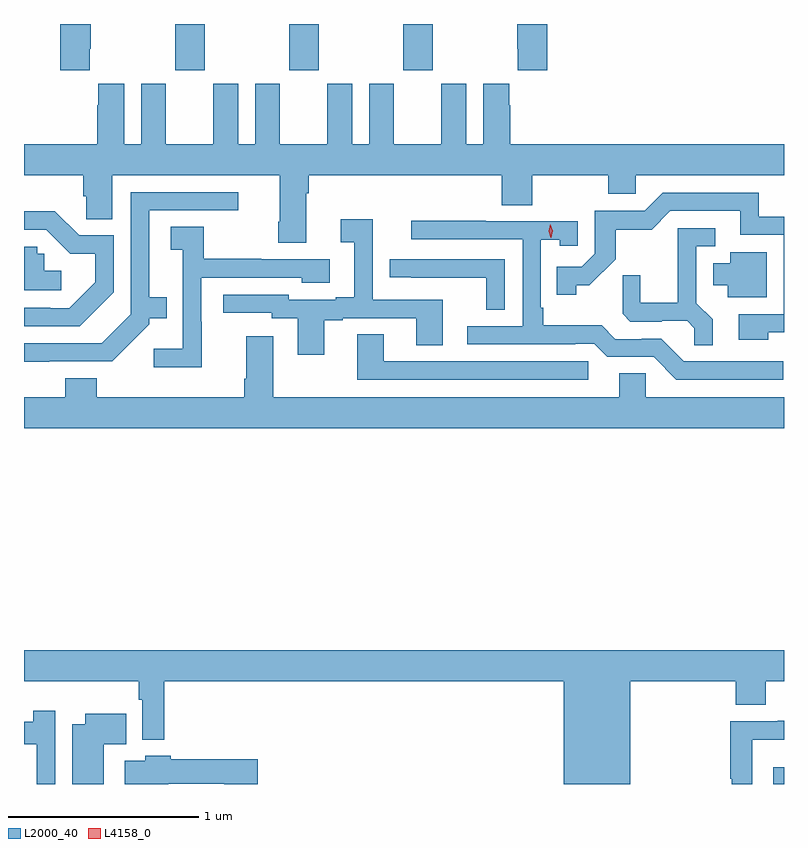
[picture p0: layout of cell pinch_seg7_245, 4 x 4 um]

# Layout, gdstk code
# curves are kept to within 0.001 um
import gdstk
lib = gdstk.Library(unit=1e-6, precision=1e-09)
def R(c, l, rs):  # rectangles x0, y0, x1, y1
    for r in rs: c.add(gdstk.rectangle(r[:2], r[2:], *l))
def A(c, l, x, y, w, h, nx, ny, dx, dy):  # array of equal rectangles
    R(c, l, [(x+i*dx, y+j*dy, x+i*dx+w, y+j*dy+h) for i in range(nx) for j in range(ny)])
def P(c, l, *ps):  # polygons
    for p in ps: c.add(gdstk.Polygon(p, *l))
L2000_40 = (2000, 40)
L4158_0 = (4158, 0)

pinch_seg7_245 = lib.new_cell('pinch_seg7_245')
A(pinch_seg7_245, L2000_40, 790.675, 1025.145, 0.155, 0.243, 3, 1, 0.6, 0)
R(pinch_seg7_245, L2000_40, [(793.823,1021.388,793.88,1021.477)])
P(pinch_seg7_245, L2000_40, [(790.225,1025.257),(790.23,1025.257),(790.23,1025.388),(790.07,1025.388),(790.07,1025.145),(790.225,1025.145)],
  [(792.635,1025.388),(792.475,1025.388),(792.475,1025.257),(792.479,1025.257),(792.479,1025.145),(792.635,1025.145)],
  [(791.225,1024.348),(791.218,1024.348),(791.218,1024.236),(791.365,1024.236),(791.365,1024.496),(791.378,1024.496),(791.378,1024.592),(792.395,1024.592),(792.395,1024.435),(792.555,1024.435),(792.555,1024.592),(792.955,1024.592),(792.955,1024.494),(793.101,1024.494),(793.101,1024.592),(793.88,1024.592),(793.88,1024.756),(792.44,1024.756),(792.44,1024.961),(792.433,1024.961),(792.433,1025.074),(792.296,1025.074),(792.296,1024.756),(792.208,1024.756),(792.208,1025.074),(792.077,1025.074),(792.077,1024.756),(791.827,1024.756),(791.827,1025.074),(791.696,1025.074),(791.696,1024.756),(791.608,1024.756),(791.608,1025.074),(791.477,1025.074),(791.477,1024.756),(791.227,1024.756),(791.227,1025.074),(791.096,1025.074),(791.096,1024.756),(791.008,1024.756),(791.008,1025.074),(790.877,1025.074),(790.877,1024.756),(790.627,1024.756),(790.627,1025.074),(790.496,1025.074),(790.496,1024.756),(790.408,1024.756),(790.408,1025.074),(790.271,1025.074),(790.271,1024.961),(790.265,1024.961),(790.265,1024.756),(789.88,1024.756),(789.88,1024.592),(790.193,1024.592),(790.193,1024.482),(790.207,1024.482),(790.207,1024.36),(790.345,1024.36),(790.345,1024.592),(791.225,1024.592)],
  [(790.013,1023.612),(790.344,1023.612),(790.539,1023.807),(790.539,1023.839),(790.631,1023.839),(790.631,1023.949),(790.54,1023.949),(790.54,1024.407),(791.008,1024.407),(791.008,1024.503),(790.443,1024.503),(790.443,1023.861),(790.29,1023.708),(789.88,1023.708),(789.88,1023.611)],
  [(793.797,1023.765),(793.88,1023.765),(793.88,1024.374),(793.748,1024.374),(793.748,1024.5),(793.242,1024.5),(793.146,1024.404),(792.885,1024.404),(792.885,1024.179),(792.816,1024.11),(792.685,1024.11),(792.685,1023.963),(792.786,1023.963),(792.786,1024.013),(792.856,1024.013),(792.994,1024.15),(792.994,1024.305),(793.183,1024.305),(793.281,1024.404),(793.649,1024.404),(793.649,1024.278),(793.878,1024.278),(793.878,1023.861),(793.641,1023.861),(793.641,1023.725),(793.797,1023.725)],
  [(790.353,1023.977),(790.353,1024.275),(790.17,1024.275),(790.042,1024.403),(789.88,1024.403),(789.88,1024.305),(789.996,1024.305),(790.123,1024.178),(790.256,1024.178),(790.256,1024.028),(790.119,1023.891),(790.019,1023.891),(790.019,1023.894),(789.88,1023.894),(789.88,1023.798),(790.174,1023.798)],
  [(791.461,1023.828),(791.557,1023.828),(791.557,1023.84),(791.945,1023.84),(791.945,1023.697),(792.085,1023.697),(792.085,1023.936),(791.715,1023.936),(791.715,1024.36),(791.547,1024.36),(791.547,1024.24),(791.618,1024.24),(791.618,1023.949),(791.522,1023.949),(791.522,1023.936),(791.274,1023.936),(791.274,1023.963),(790.929,1023.963),(790.929,1023.867),(791.184,1023.867),(791.184,1023.84),(791.321,1023.84),(791.321,1023.648),(791.461,1023.648)],
  [(793.876,1023.612),(793.353,1023.612),(793.233,1023.732),(793.132,1023.732),(793.132,1023.729),(792.993,1023.729),(792.92,1023.802),(792.613,1023.802),(792.613,1023.895),(792.6,1023.895),(792.6,1024.253),(792.699,1024.253),(792.699,1024.221),(792.795,1024.221),(792.795,1024.35),(792.311,1024.35),(792.311,1024.353),(791.919,1024.353),(791.919,1024.254),(792.504,1024.254),(792.504,1023.798),(792.213,1023.798),(792.213,1023.702),(792.782,1023.702),(792.782,1023.705),(792.882,1023.705),(792.951,1023.636),(793.194,1023.636),(793.314,1023.516),(793.876,1023.516)],
  [(790.815,1023.821),(790.812,1023.821),(790.812,1024.053),(791.343,1024.053),(791.343,1024.025),(791.488,1024.025),(791.488,1024.149),(791.129,1024.149),(791.129,1024.152),(790.825,1024.152),(790.825,1024.322),(790.653,1024.322),(790.653,1024.201),(790.716,1024.201),(790.716,1023.679),(790.563,1023.679),(790.563,1023.581),(790.815,1023.581)],
  [(793.505,1023.833),(793.419,1023.919),(793.419,1024.218),(793.519,1024.218),(793.519,1024.314),(793.322,1024.314),(793.322,1023.922),(793.124,1023.922),(793.124,1024.065),(793.03,1024.065),(793.03,1023.863),(793.071,1023.822),(793.236,1023.822),(793.236,1023.825),(793.37,1023.825),(793.407,1023.788),(793.407,1023.697),(793.505,1023.697)],
  [(790.075,1024.09),(789.987,1024.09),(789.987,1024.179),(789.951,1024.179),(789.951,1024.215),(789.88,1024.215),(789.88,1023.987),(790.075,1023.987)],
  [(793.789,1024.186),(793.598,1024.186),(793.598,1024.129),(793.508,1024.129),(793.508,1024.013),(793.583,1024.013),(793.583,1023.95),(793.789,1023.95)],
  [(792.411,1024.149),(791.805,1024.149),(791.805,1024.054),(791.917,1024.054),(791.917,1024.053),(792.313,1024.053),(792.313,1023.883),(792.411,1023.883)],
  [(792.85,1023.612),(791.773,1023.612),(791.773,1023.755),(791.633,1023.755),(791.633,1023.516),(792.85,1023.516)],
  [(793.88,1023.424),(793.152,1023.424),(793.152,1023.551),(793.013,1023.551),(793.013,1023.424),(791.191,1023.424),(791.191,1023.745),(791.051,1023.745),(791.051,1023.52),(791.039,1023.52),(791.039,1023.424),(790.262,1023.424),(790.262,1023.523),(790.097,1023.523),(790.097,1023.424),(789.88,1023.424),(789.88,1023.26),(793.88,1023.26)],
  [(793.072,1021.928),(793.625,1021.928),(793.625,1021.804),(793.785,1021.804),(793.785,1021.928),(793.88,1021.928),(793.88,1022.092),(789.88,1022.092),(789.88,1021.928),(790.483,1021.928),(790.483,1021.832),(790.503,1021.832),(790.503,1021.622),(790.619,1021.622),(790.619,1021.928),(792.722,1021.928),(792.722,1021.388),(793.072,1021.388)],
  [(790.044,1021.774),(789.928,1021.774),(789.928,1021.715),(789.88,1021.715),(789.88,1021.597),(789.947,1021.597),(789.947,1021.388),(790.044,1021.388)],
  [(790.3,1021.598),(790.418,1021.598),(790.418,1021.759),(790.202,1021.759),(790.202,1021.702),(790.133,1021.702),(790.133,1021.388),(790.3,1021.388)],
  [(793.713,1021.622),(793.88,1021.622),(793.88,1021.721),(793.847,1021.721),(793.847,1021.719),(793.597,1021.719),(793.597,1021.416),(793.605,1021.416),(793.605,1021.388),(793.713,1021.388)],
  [(790.639,1021.39),(790.933,1021.39),(790.933,1021.388),(791.111,1021.388),(791.111,1021.519),(790.652,1021.519),(790.652,1021.537),(790.518,1021.537),(790.518,1021.51),(790.409,1021.51),(790.409,1021.388),(790.639,1021.388)])
P(pinch_seg7_245, L4158_0, [(792.653,1024.263),(792.653,1024.263),(792.642,1024.298),(792.651,1024.335),(792.651,1024.335),(792.651,1024.335),(792.662,1024.299),(792.654,1024.263)])

lib.write_gds('pinch_seg7_245.gds')
